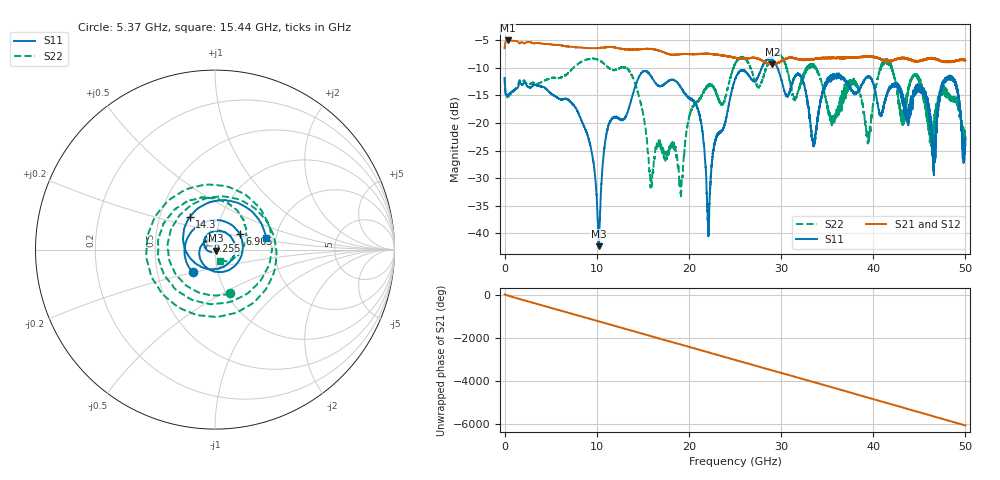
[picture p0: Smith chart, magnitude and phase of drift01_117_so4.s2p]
!Created with skrf (http://scikit-rf.org).
# Hz S RI R 50.0
!freq ReS11 ImS11 ReS21 ImS21 ReS12 ImS12 ReS22 ImS22
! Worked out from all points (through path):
!   10001 points, 300 kHz to 50 GHz, reference 50 ohm
!   highest |S21| = -5.05 dB at 325.3 MHz (marker M1); lowest = -9.4 dB at 29.06 GHz (marker M2)
!   group delay of S21, straight-line fit = 336 ps
!   lowest |S11| = -42.3 dB at 10.22 GHz (marker M3), VSWR 1.02, Z = 50.5 - j0.569 ohm
!   |S11| at or under -10 dB: start of sweep to 27.9 GHz; 29.6 GHz to end of sweep
!   |S22| runs from -33.3 to -7.5 dB; largest |S21 - S12| = 0.015
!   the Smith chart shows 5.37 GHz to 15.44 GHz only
!   S11 on the Smith chart (normalised r, x): 5.37 GHz: 0.76, -0.20; 6.905 GHz: 1.30, +0.23; 9.255 GHz: 0.91, +0.09; 14.3 GHz: 0.71, +0.27; 15.44 GHz: 1.77, +0.25
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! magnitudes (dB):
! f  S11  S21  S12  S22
! 300 kHz  -11.9  -6.5  -6.5  -11.7
! 325.3 MHz  -15.0  -5.1  -5.1  -15.3
! 5.37 GHz  -15.0  -5.9  -5.9  -11.8
! 6.905 GHz  -15.8  -6.1  -6.1  -11.0
! 8.335 GHz  -19.5  -6.4  -6.3  -8.9
! 9.255 GHz  -23.8  -6.4  -6.4  -8.4
! 10.22 GHz  -42.3  -6.4  -6.4  -8.6
! 11.24 GHz  -20.7  -6.2  -6.2  -9.9
! 14.3 GHz  -12.8  -6.7  -6.7  -13.5
! 15.44 GHz  -10.7  -6.6  -6.6  -22.9
! 16.67 GHz  -13.2  -6.9  -6.9  -23.3
! 19.14 GHz  -13.6  -7.5  -7.6  -33.0
! 20.85 GHz  -16.9  -7.5  -7.5  -16.2
! 22.13 GHz  -40.0  -7.5  -7.5  -13.3
! 25 GHz  -12.1  -8.2  -8.2  -9.4
! 29.06 GHz  -8.6  -9.4  -9.4  -8.0
! 33.34 GHz  -22.2  -8.5  -8.4  -9.6
! 39.47 GHz  -11.6  -8.0  -8.0  -22.1
! 41.67 GHz  -13.8  -8.7  -8.7  -8.9
! 46.56 GHz  -26.6  -8.3  -8.3  -20.6
! 48.56 GHz  -12.0  -8.9  -8.8  -15.7
! 50 GHz  -24.0  -8.6  -8.6  -23.0
